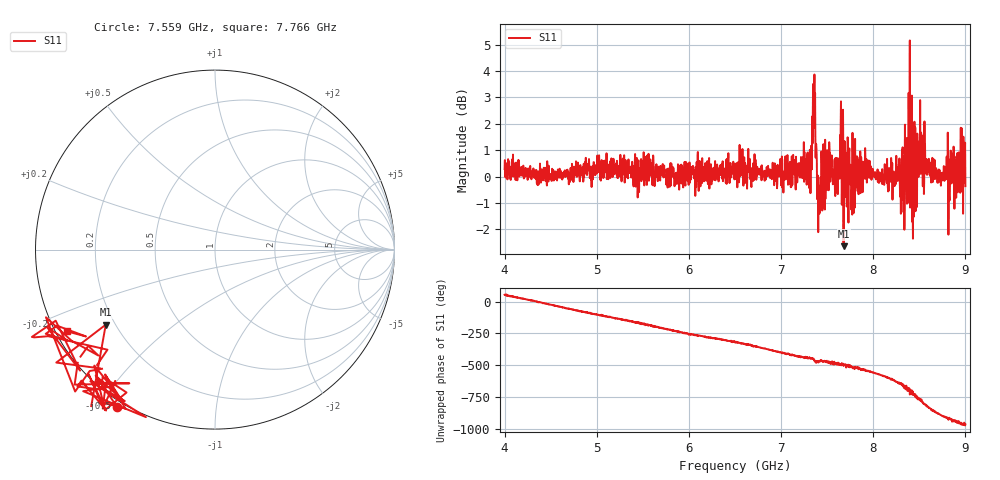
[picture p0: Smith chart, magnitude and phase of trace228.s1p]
! Created with skrf 1.8.0 (http://scikit-rf.org).
# Hz S RI R 50.0
!freq ReS11 ImS11
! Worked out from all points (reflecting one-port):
!   1601 points, 4 GHz to 9 GHz, reference 50 ohm
!   lowest |S11| = -2.6 dB at 7.678 GHz (marker M1), VSWR 6.65, Z = 8.23 - j15.1 ohm
!   phase of S11 starts at 53 deg and turns -1017 deg over the sweep
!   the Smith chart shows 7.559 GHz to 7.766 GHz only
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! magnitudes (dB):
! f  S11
! 4 GHz  0.3
! 4.625 GHz  -0.1
! 5.25 GHz  0.1
! 5.875 GHz  0.0
! 6.5 GHz  0.2
! 7.125 GHz  0.3
! 7.297 GHz  0.5
! 7.316 GHz  0.8
! 7.347 GHz  3.5
! 7.362 GHz  3.9
! 7.397 GHz  -0.3
! 7.428 GHz  0.0
! 7.503 GHz  0.7
! 7.591 GHz  0.7
! 7.65 GHz  2.8
! 7.678 GHz  -2.6
! 7.75 GHz  0.3
! 7.928 GHz  0.3
! 8.316 GHz  0.9
! 8.334 GHz  0.2
! 8.356 GHz  0.7
! 8.375 GHz  -0.4
! 8.394 GHz  1.9
! 8.447 GHz  2.1
! 8.522 GHz  1.6
! 8.712 GHz  0.3
! 8.972 GHz  1.1
! 9 GHz  -0.4
